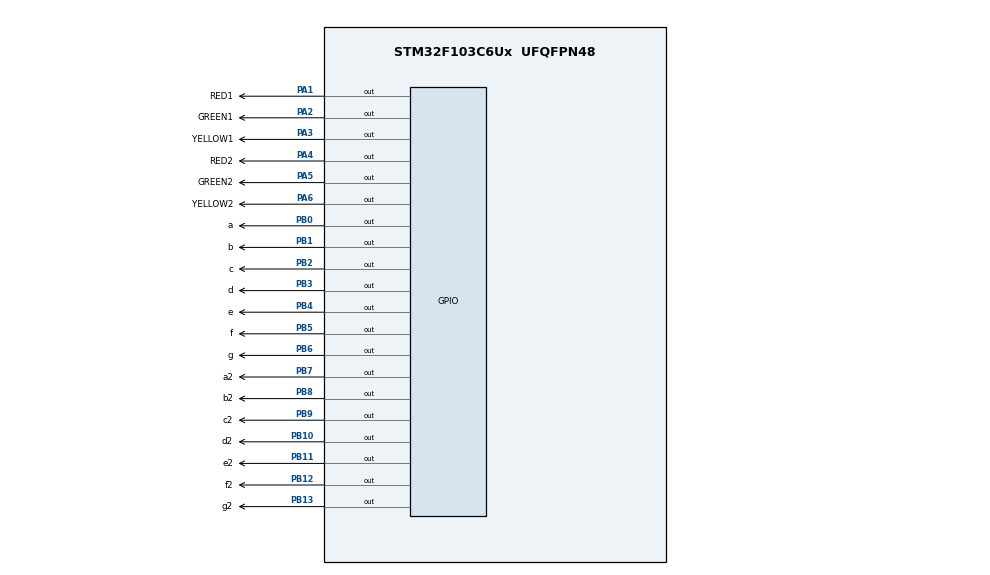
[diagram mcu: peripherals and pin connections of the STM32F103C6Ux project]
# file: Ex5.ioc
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Mcu.Family=STM32F1
Mcu.Name=STM32F103C6Ux
Mcu.Package=UFQFPN48
NVIC.PriorityGroup=NVIC_PRIORITYGROUP_4
PA1.GPIO_Label=RED1
PA1.GPIO_ModeDefaultOutputPP=GPIO_MODE_OUTPUT_PP
PA1.Signal=GPIO_Output
PA2.GPIO_Label=GREEN1
PA2.Signal=GPIO_Output
PA3.GPIO_Label=YELLOW1
PA3.Signal=GPIO_Output
PA4.GPIO_Label=RED2
PA4.Signal=GPIO_Output
PA5.GPIO_Label=GREEN2
PA5.Signal=GPIO_Output
PA6.GPIO_Label=YELLOW2
PA6.Signal=GPIO_Output
PB0.GPIO_Label=a
PB0.Signal=GPIO_Output
PB1.GPIO_Label=b
PB1.Signal=GPIO_Output
PB10.GPIO_Label=d2
PB10.Signal=GPIO_Output
PB11.GPIO_Label=e2
PB11.Signal=GPIO_Output
PB12.GPIO_Label=f2
PB12.Signal=GPIO_Output
PB13.GPIO_Label=g2
PB13.Signal=GPIO_Output
PB2.GPIO_Label=c
PB2.Signal=GPIO_Output
PB3.GPIO_Label=d
PB3.Signal=GPIO_Output
PB4.GPIO_Label=e
PB4.Signal=GPIO_Output
PB5.GPIO_Label=f
PB5.Signal=GPIO_Output
PB6.GPIO_Label=g
PB6.Signal=GPIO_Output
PB7.GPIO_Label=a2
PB7.Signal=GPIO_Output
PB8.GPIO_Label=b2
PB8.Signal=GPIO_Output
PB9.GPIO_Label=c2
PB9.Signal=GPIO_Output
ProjectManager.HeapSize=0x200
ProjectManager.StackSize=0x400
ProjectManager.TargetToolchain=STM32CubeIDE
RCC.APB1Freq_Value=8000000
RCC.APB2Freq_Value=8000000
VP_SYS_VS_ND.Mode=No_Debug
board=custom

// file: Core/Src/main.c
/* USER CODE BEGIN Header */
/**
  ******************************************************************************
  * @file           : main.c
  * @brief          : Main program body
  ******************************************************************************
  * @attention
  *
  * <h2><center>&copy; Copyright (c) 2023 STMicroelectronics.
  * All rights reserved.</center></h2>
  *
  * This software component is licensed by ST under BSD 3-Clause license,
  * the "License"; You may not use this file except in compliance with the
  * License. You may obtain a copy of the License at:
  *                        opensource.org/licenses/BSD-3-Clause
  *
  ******************************************************************************
  */
/* USER CODE END Header */
#include "main.h"

void SystemClock_Config(void);
static void MX_GPIO_Init(void);

/* USER CODE BEGIN 0 */
void display7SEG(int num){
	int a=0, b=0, c=0, d=0, e=0, f=0, g=0;
	switch(num){
	case 0:
		a = 0; b = 0; c = 0; d = 0; e = 0; f = 0; g = 1;
		break;
	case 1:
		a = 1; b = 0; c = 0; d = 1; e = 1; f = 1; g = 1;
		break;
	case 2:
		a = 0; b = 0; c = 1; d = 0; e = 0; f = 1; g = 0;
		break;
	case 3:
		a = 0; b = 0; c = 0; d = 0; e = 1; f = 1; g = 0;
		break;
	case 4:
		a = 1; b = 0; c = 0; d = 1; e = 1; f = 0; g = 0;
		break;
	case 5:
		a = 0; b = 1; c = 0; d = 0; e = 1; f = 0; g = 0;
		break;
	case 6:
		a = 0; b = 1; c = 0; d = 0; e = 0; f = 0; g = 0;
		break;
	case 7:
		a = 0; b = 0; c = 0; d = 1; e = 1; f = 1; g = 1;
		break;
	case 8:
		a = 0; b = 0; c = 0; d = 0; e = 0; f = 0; g = 0;
		break;
	case 9:
		a = 0; b = 0; c = 0; d = 0; e = 1; f = 0; g = 0;
		break;
	default:
		a = 1; b = 1; c = 1; d = 1; e = 1; f = 1; g = 0;
		break;
	}
	HAL_GPIO_WritePin(a_GPIO_Port, a_Pin, a);
	HAL_GPIO_WritePin(b_GPIO_Port, b_Pin, b);
	HAL_GPIO_WritePin(c_GPIO_Port, c_Pin, c);
	HAL_GPIO_WritePin(d_GPIO_Port, d_Pin, d);
	HAL_GPIO_WritePin(e_GPIO_Port, e_Pin, e);
	HAL_GPIO_WritePin(f_GPIO_Port, f_Pin, f);
	HAL_GPIO_WritePin(g_GPIO_Port, g_Pin, g);
}

void display7SEG_2(int num){
	int a=0, b=0, c=0, d=0, e=0, f=0, g=0;
	switch(num){
	case 0:
		a = 0; b = 0; c = 0; d = 0; e = 0; f = 0; g = 1;
		break;
	case 1:
		a = 1; b = 0; c = 0; d = 1; e = 1; f = 1; g = 1;
		break;
	case 2:
		a = 0; b = 0; c = 1; d = 0; e = 0; f = 1; g = 0;
		break;
	case 3:
		a = 0; b = 0; c = 0; d = 0; e = 1; f = 1; g = 0;
		break;
	case 4:
		a = 1; b = 0; c = 0; d = 1; e = 1; f = 0; g = 0;
		break;
	case 5:
		a = 0; b = 1; c = 0; d = 0; e = 1; f = 0; g = 0;
		break;
	case 6:
		a = 0; b = 1; c = 0; d = 0; e = 0; f = 0; g = 0;
		break;
	case 7:
		a = 0; b = 0; c = 0; d = 1; e = 1; f = 1; g = 1;
		break;
	case 8:
		a = 0; b = 0; c = 0; d = 0; e = 0; f = 0; g = 0;
		break;
	case 9:
		a = 0; b = 0; c = 0; d = 0; e = 1; f = 0; g = 0;
		break;
	default:
		a = 1; b = 1; c = 1; d = 1; e = 1; f = 1; g = 0;
		break;
	}
	HAL_GPIO_WritePin(a2_GPIO_Port, a2_Pin, a);
	HAL_GPIO_WritePin(b2_GPIO_Port, b2_Pin, b);
	HAL_GPIO_WritePin(c2_GPIO_Port, c2_Pin, c);
	HAL_GPIO_WritePin(d2_GPIO_Port, d2_Pin, d);
	HAL_GPIO_WritePin(e2_GPIO_Port, e2_Pin, e);
	HAL_GPIO_WritePin(f2_GPIO_Port, f2_Pin, f);
	HAL_GPIO_WritePin(g2_GPIO_Port, g2_Pin, g);
}

/* USER CODE END 0 */

int main(void)
{

  /* MCU Configuration--------------------------------------------------------*/

  /* Reset of all peripherals, Initializes the Flash interface and the Systick. */
  HAL_Init();

  /* Configure the system clock */
  SystemClock_Config();

  /* Initialize all configured peripherals */
  MX_GPIO_Init();

  /* Infinite loop */
  /* USER CODE BEGIN WHILE */
  int tred1 = 5;
  int tyellow1 = 2;
  int tgreen1 = 3;

  int tred2 = 5;
  int tyellow2 = 2;
  int tgreen2 = 3;

  int counter0 = 10;
  while (1)
  {
	  if (counter0 >5) {
			  HAL_GPIO_WritePin(RED1_GPIO_Port, RED1_Pin, GPIO_PIN_SET);
			  HAL_GPIO_WritePin(YELLOW1_GPIO_Port, YELLOW1_Pin, GPIO_PIN_RESET);
			  HAL_GPIO_WritePin(GREEN1_GPIO_Port, GREEN1_Pin, GPIO_PIN_RESET);
			  display7SEG(tred1--);
			  if(tred1<=0) tred1 = 5;
			  if (counter0 >7) {
				  HAL_GPIO_WritePin(RED2_GPIO_Port, RED2_Pin, GPIO_PIN_RESET);
				  HAL_GPIO_WritePin(YELLOW2_GPIO_Port, YELLOW2_Pin, GPIO_PIN_RESET);
				  HAL_GPIO_WritePin(GREEN2_GPIO_Port, GREEN2_Pin, GPIO_PIN_SET);
				  display7SEG_2(tgreen2--);
				  if(tgreen2<=0) tgreen2 = 3;
			  } else {
				  HAL_GPIO_WritePin(RED2_GPIO_Port, RED2_Pin, GPIO_PIN_RESET);
				  HAL_GPIO_WritePin(YELLOW2_GPIO_Port, YELLOW2_Pin, GPIO_PIN_SET);
				  HAL_GPIO_WritePin(GREEN2_GPIO_Port, GREEN2_Pin, GPIO_PIN_RESET);
				  display7SEG_2(tyellow2--);
				  if(tyellow2<=0) tyellow2 = 2;
			  }
	  } else {
			  HAL_GPIO_WritePin(RED2_GPIO_Port, RED2_Pin, GPIO_PIN_SET);
			  HAL_GPIO_WritePin(YELLOW2_GPIO_Port, YELLOW2_Pin, GPIO_PIN_RESET);
			  HAL_GPIO_WritePin(GREEN2_GPIO_Port, GREEN2_Pin, GPIO_PIN_RESET);
			  display7SEG_2(tred2--);
			  if(tred2<=0) tred2=5;
			  if (counter0 >2) {
				  HAL_GPIO_WritePin(RED1_GPIO_Port, RED1_Pin, GPIO_PIN_RESET);
				  HAL_GPIO_WritePin(YELLOW1_GPIO_Port, YELLOW1_Pin, GPIO_PIN_RESET);
				  HAL_GPIO_WritePin(GREEN1_GPIO_Port, GREEN1_Pin, GPIO_PIN_SET);
				  display7SEG(tgreen1--);
				  if(tgreen1<=0) tgreen1 = 3;

			  } else {
				  HAL_GPIO_WritePin(RED1_GPIO_Port, RED1_Pin, GPIO_PIN_RESET);
				  HAL_GPIO_WritePin(YELLOW1_GPIO_Port, YELLOW1_Pin, GPIO_PIN_SET);
				  HAL_GPIO_WritePin(GREEN1_GPIO_Port, GREEN1_Pin, GPIO_PIN_RESET);
				  display7SEG(tyellow1--);
				  if(tyellow1<=0) tyellow1=2;
			  }
		  }
	  counter0--;
	  if (counter0 <= 0) counter0 = 10;
	  HAL_Delay(1000);
    /* USER CODE END WHILE */

  }
}

void SystemClock_Config(void)
{
  RCC_OscInitTypeDef RCC_OscInitStruct = {0};
  RCC_ClkInitTypeDef RCC_ClkInitStruct = {0};

  /** Initializes the RCC Oscillators according to the specified parameters
  * in the RCC_OscInitTypeDef structure.
  */
  RCC_OscInitStruct.OscillatorType = RCC_OSCILLATORTYPE_HSI;
  RCC_OscInitStruct.HSIState = RCC_HSI_ON;
  RCC_OscInitStruct.HSICalibrationValue = RCC_HSICALIBRATION_DEFAULT;
  RCC_OscInitStruct.PLL.PLLState = RCC_PLL_NONE;
  if (HAL_RCC_OscConfig(&RCC_OscInitStruct) != HAL_OK)
  {
    Error_Handler();
  }
  /** Initializes the CPU, AHB and APB buses clocks
  */
  RCC_ClkInitStruct.ClockType = RCC_CLOCKTYPE_HCLK|RCC_CLOCKTYPE_SYSCLK
                              |RCC_CLOCKTYPE_PCLK1|RCC_CLOCKTYPE_PCLK2;
  RCC_ClkInitStruct.SYSCLKSource = RCC_SYSCLKSOURCE_HSI;
  RCC_ClkInitStruct.AHBCLKDivider = RCC_SYSCLK_DIV1;
  RCC_ClkInitStruct.APB1CLKDivider = RCC_HCLK_DIV1;
  RCC_ClkInitStruct.APB2CLKDivider = RCC_HCLK_DIV1;

  if (HAL_RCC_ClockConfig(&RCC_ClkInitStruct, FLASH_LATENCY_0) != HAL_OK)
  {
    Error_Handler();
  }
}

static void MX_GPIO_Init(void)
{
  GPIO_InitTypeDef GPIO_InitStruct = {0};

  /* GPIO Ports Clock Enable */
  __HAL_RCC_GPIOA_CLK_ENABLE();
  __HAL_RCC_GPIOB_CLK_ENABLE();

  /*Configure GPIO pin Output Level */
  HAL_GPIO_WritePin(GPIOA, RED1_Pin|GREEN1_Pin|YELLOW1_Pin|RED2_Pin
                          |GREEN2_Pin|YELLOW2_Pin, GPIO_PIN_RESET);

  /*Configure GPIO pin Output Level */
  HAL_GPIO_WritePin(GPIOB, a_Pin|b_Pin|c_Pin|d2_Pin
                          |e2_Pin|f2_Pin|g2_Pin|d_Pin
                          |e_Pin|f_Pin|g_Pin|a2_Pin
                          |b2_Pin|c2_Pin, GPIO_PIN_RESET);

  /*Configure GPIO pins : RED1_Pin GREEN1_Pin YELLOW1_Pin RED2_Pin
                           GREEN2_Pin YELLOW2_Pin */
  GPIO_InitStruct.Pin = RED1_Pin|GREEN1_Pin|YELLOW1_Pin|RED2_Pin
                          |GREEN2_Pin|YELLOW2_Pin;
  GPIO_InitStruct.Mode = GPIO_MODE_OUTPUT_PP;
  GPIO_InitStruct.Pull = GPIO_NOPULL;
  GPIO_InitStruct.Speed = GPIO_SPEED_FREQ_LOW;
  HAL_GPIO_Init(GPIOA, &GPIO_InitStruct);

  /*Configure GPIO pins : a_Pin b_Pin c_Pin d2_Pin
                           e2_Pin f2_Pin g2_Pin d_Pin
                           e_Pin f_Pin g_Pin a2_Pin
                           b2_Pin c2_Pin */
  GPIO_InitStruct.Pin = a_Pin|b_Pin|c_Pin|d2_Pin
                          |e2_Pin|f2_Pin|g2_Pin|d_Pin
                          |e_Pin|f_Pin|g_Pin|a2_Pin
                          |b2_Pin|c2_Pin;
  GPIO_InitStruct.Mode = GPIO_MODE_OUTPUT_PP;
  GPIO_InitStruct.Pull = GPIO_NOPULL;
  GPIO_InitStruct.Speed = GPIO_SPEED_FREQ_LOW;
  HAL_GPIO_Init(GPIOB, &GPIO_InitStruct);

}

void Error_Handler(void)
{
  __disable_irq();
  while (1)
  {
  }
}

/************************ (C) COPYRIGHT STMicroelectronics *****END OF FILE****/
